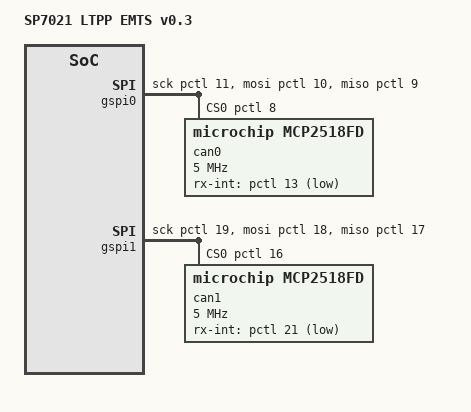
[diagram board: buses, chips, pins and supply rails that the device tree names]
/*
 * EMTS for LTPP
 * Copyright (C) 2025 Tibbo Tech. - http://tibbo.com/tps/
 * License: GPLv2 or later
 */
/dts-v1/;

#include "sp7021-ltpp3g2revD.dtsi"

/ {
 model = "SP7021 LTPP EMTS v0.3";
 clocks {
  clk_can0: clk_can0 {
    compatible = "fixed-clock";
    #clock-cells = <0>;
    clock-frequency  = <40000000>;  }; // max is 40MZ
  clk_can1: clk_can1 {
    compatible = "fixed-clock";
    #clock-cells = <0>;
    clock-frequency  = <40000000>;  }; // max is 40MZ

 };
};

&pctl {  interrupts = <>;  };

/ {
    soc@B {

	gspi0: gspi0 {
 		compatible = "spi-gpio";
 		sck-gpios = <&pctl 11 0>;
 		miso-gpios = <&pctl 9 0>;
 		mosi-gpios = <&pctl 10 0>;
 		cs-gpios = <&pctl 8 0>;
 		num-chipselects = <1>;
	};
	gspi1: gspi1 {
 		compatible = "spi-gpio";
 		sck-gpios = <&pctl 19 0>;
 		miso-gpios = <&pctl 17 0>;
 		mosi-gpios = <&pctl 18 0>;
 		cs-gpios = <&pctl 16 0>;
 		num-chipselects = <1>;
	};
    };
};

///* 55 (SPI) on s1 */
//&spi_controller0 {  status = "okay";
//  pinctrl-names = "default";
//  pinctrl-0 = <&pins_spim0>;
//  tps-sock = "s1";
//};
//
//&spi_controller0 {
&gspi0 {
  can0: can@0 {
    pinctrl-names = "default";
    pinctrl-0 = <&pins_spidev0>;
    compatible = "microchip,mcp2518fd";
    reg = <0>;
    clocks = <&clk_can0>;
    spi-max-frequency = <5000000>;
    interrupt-parent = <&intc>;
    interrupts = <120 IRQ_TYPE_LEVEL_LOW>;
    microchip,rx-int-gpios = <&pctl 13 GPIO_ACTIVE_LOW>;
    // dv_iocon = <0x80000000>; // use default
    dv_iocon = <0x20030300>; // SoF
    // dv_oscva = <0x60>; // osc div
    dv_oscva = <0x80000000>; // default
    // dv_nober; // err counter off
    // dv_noslp; // do not sleep
  };
};

///* 55 (SPI) on s5 */
//&spi_controller1 {  status = "okay";
//  pinctrl-names = "default";
//  pinctrl-0 = <&pins_spim1>;
//  tps-sock = "s5";
//};
//
//&spi_controller1 {
&gspi1 {
  can1: can@1 {
    pinctrl-names = "default";
    pinctrl-0 = <&pins_spidev1>;
    compatible = "microchip,mcp2518fd";
    reg = <0>;
    clocks = <&clk_can1>;
    spi-max-frequency = <5000000>;
    interrupt-parent = <&intc>;
    interrupts = <121 IRQ_TYPE_LEVEL_LOW>;
    microchip,rx-int-gpios = <&pctl 21 GPIO_ACTIVE_LOW>;
    // dv_iocon = <0x80000000>; // use default
    dv_iocon = <0x20030300>; // SoF
    // dv_oscva = <0x60>; // osc div
    dv_oscva = <0x80000000>; // default
    // dv_nober; // err counter off
    // dv_noslp; // do not sleep
  };
};


&pctl {
/* 55 (SPI) on s1 */
 pins_spim0: pins_spim0 {
 sppctl,pins = <
      SPPCTL_IOPAD(26,SPPCTL_PCTL_G_PMUX,MUXF_SPIM0_EN,0)
      SPPCTL_IOPAD(25,SPPCTL_PCTL_G_PMUX,MUXF_SPIM0_DI,0)
      SPPCTL_IOPAD(23,SPPCTL_PCTL_G_PMUX,MUXF_SPIM0_DO,0)
      SPPCTL_IOPAD(27,SPPCTL_PCTL_G_PMUX,MUXF_SPIM0_CLK,0)
    >;
 };
 pins_spidev0: pins_spidev0 {
 sppctl,pins = <
      SPPCTL_IOPAD(12,SPPCTL_PCTL_G_GPIO,0,0)
      SPPCTL_IOPAD(13,SPPCTL_PCTL_G_GPIO,0,0)
      SPPCTL_IOPAD(19,SPPCTL_PCTL_G_GPIO,0,0)
      SPPCTL_IOPAD(22,SPPCTL_PCTL_G_PMUX,MUXF_GPIO_INT0,0)
    >;
 };
/* 55 (SPI) on s5 */
 pins_spim1: pins_spim1 {
 sppctl,pins = <
      SPPCTL_IOPAD(16,SPPCTL_PCTL_G_PMUX,MUXF_SPIM1_EN,0)
      SPPCTL_IOPAD(18,SPPCTL_PCTL_G_PMUX,MUXF_SPIM1_DI,0)
      SPPCTL_IOPAD(17,SPPCTL_PCTL_G_PMUX,MUXF_SPIM1_DO,0)
      SPPCTL_IOPAD(15,SPPCTL_PCTL_G_PMUX,MUXF_SPIM1_CLK,0)
    >;
 };
 pins_spidev1: pins_spidev1 {
 sppctl,pins = <
      SPPCTL_IOPAD(20,SPPCTL_PCTL_G_GPIO,0,0)
      SPPCTL_IOPAD(21,SPPCTL_PCTL_G_GPIO,0,0)
      SPPCTL_IOPAD(22,SPPCTL_PCTL_G_GPIO,0,0)
      SPPCTL_IOPAD(14,SPPCTL_PCTL_G_PMUX,MUXF_GPIO_INT1,0)
    >;
 };

};

/ {
    soc@B {

    };
};
